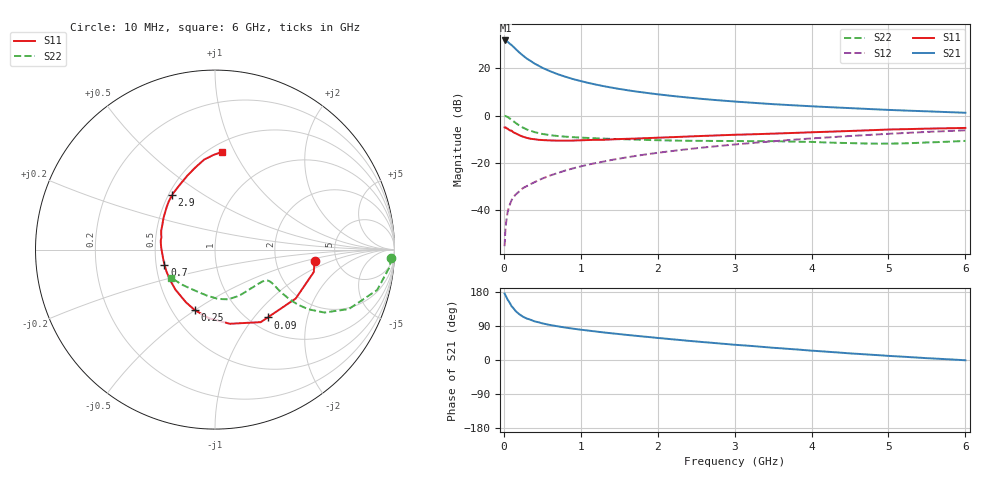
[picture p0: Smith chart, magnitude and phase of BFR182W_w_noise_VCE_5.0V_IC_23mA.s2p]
! Infineon Technologies  Discrete & RF Semiconductors
! BFR182W
! VCE =  5.0 V,  IC =  23 mA
! Common Emitter S-Parameters:  Jan 2017
# GHz  S  MA  R  50
!  f  S11  S21  S12  S22
! GHz  MAG  ANG  MAG  ANG  MAG  ANG  MAG  ANG
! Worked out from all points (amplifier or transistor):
!   77 points, 10 MHz to 6 GHz, reference 50 ohm
!   highest |S21| = 31.8 dB at 20 MHz (marker M1)
!   |S21| within 3 dB of that: start of sweep to 133.6 MHz
!   unconditionally stable (mu >= 1): 792.2 MHz to 2.32 GHz
!   at 130 MHz: K = 0.44, MSG = 31.7 dB, |S12| = -34.5 dB
!   at 2.2 GHz: K = 1.01, MAG = 11.1 dB, |S12| = -15.0 dB
!   at 6 GHz: K = 0.86, MSG = 3.7 dB, |S12| = -6.3 dB
!   lowest NFmin = 1.50 dB at 450 MHz
!   S11 on the Smith chart (normalised r, x): 10 MHz: 3.41, -0.62; 90 MHz: 1.20, -1.18; 250 MHz: 0.65, -0.50; 700 MHz: 0.55, -0.10; 2.9 GHz: 0.52, +0.37; 6 GHz: 0.58, +0.89
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0.01  0.5583 -6.4  39.01 175.2  0.0017 90.1  0.9834 -2.6
0.02  0.5644 -12.8  39.04 171.2  0.0037 98.1  0.9773 -5.8
0.05  0.526 -31.2  36.63 159.0  0.0091 76.5  0.9309 -14.0
0.09  0.4786 -52.2  32.12 145.9  0.0146 72.5  0.8361 -21.8
0.1  0.4778 -57.8  31.3 142.1  0.016 71.9  0.8152 -24.0
0.15  0.4214 -78.7  26.08 129.7  0.0209 65.7  0.7033 -29.9
0.2  0.3834 -95.2  21.82 120.9  0.0246 65.5  0.6171 -32.6
0.25  0.3557 -108.3  18.6 114.1  0.0291 64.3  0.5529 -33.6
0.3  0.3352 -118.9  16.05 109.3  0.032 65.5  0.5049 -33.7
0.4  0.3136 -134.6  12.59 101.9  0.0387 67.1  0.4443 -33.0
0.5  0.302 -146.8  10.29 96.7  0.0461 68.1  0.4071 -31.9
0.6  0.2963 -156.2  8.712 92.4  0.0534 69.1  0.384 -31.0
0.7  0.2941 -163.4  7.53 88.9  0.0604 70.3  0.3678 -30.4
0.9  0.2946 -175.7  5.926 82.7  0.0758 70.9  0.3474 -30.2
1.1  0.3023 175.1  4.911 77.6  0.0914 71.1  0.3344 -31.1
1.5  0.3173 161.0  3.663 68.4  0.1221 70.0  0.3156 -34.9
2.1  0.3434 144.9  2.703 56.4  0.1699 66.9  0.2972 -45.1
2.9  0.3856 128.4  2.038 42.0  0.2347 61.2  0.2887 -62.5
3.1  0.3948 124.7  1.93 38.8  0.2513 59.6  0.2873 -66.8
4.1  0.4469 108.7  1.542 23.3  0.3351 51.0  0.2717 -88.6
5.1  0.509 95.7  1.297 9.7  0.4173 41.4  0.2552 -120.1
6  0.546 85.8  1.145 -0.7  0.4869 32.2  0.2902 -147.4
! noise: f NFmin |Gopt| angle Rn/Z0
0.45  1.5  0.14  -170  0.15
0.9  1.58  0.16  -165  0.16
1.9  2.1  0.31  -139  0.17
2.4  2.38  0.32  -127  0.27
